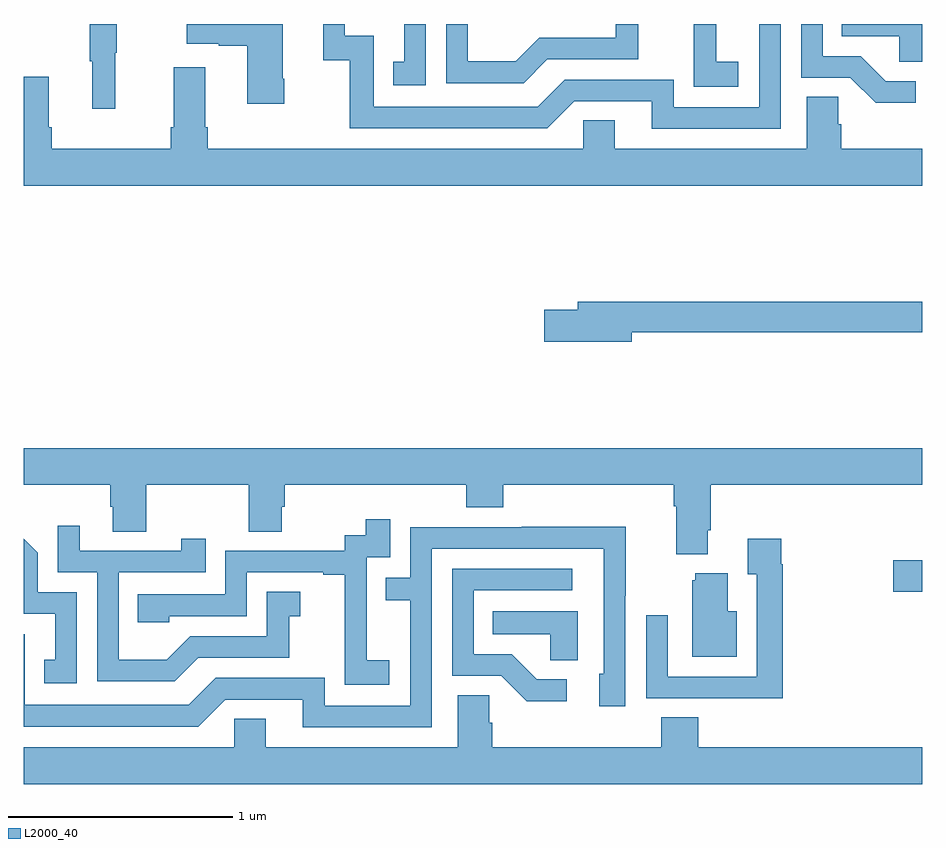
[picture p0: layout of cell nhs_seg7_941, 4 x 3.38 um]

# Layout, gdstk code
import gdstk
lib = gdstk.Library(unit=1e-6, precision=1e-09)
def R(c, l, rs):  # rectangles x0, y0, x1, y1
    for r in rs: c.add(gdstk.rectangle(r[:2], r[2:], *l))
def P(c, l, *ps):  # polygons
    for p in ps: c.add(gdstk.Polygon(p, *l))
L2000_40 = (2000, 40)

nhs_seg7_941 = lib.new_cell('nhs_seg7_941')
R(nhs_seg7_941, L2000_40, [(184.872,1001.471,185,1001.613)])
P(nhs_seg7_941, L2000_40, [(184.972,1003.746),(184.837,1003.746),(184.726,1003.857),(184.557,1003.857),(184.557,1004),(184.461,1004),(184.461,1003.761),(184.68,1003.761),(184.793,1003.649),(184.972,1003.649)],
  [(181.406,1003.872),(181.414,1003.872),(181.414,1004),(181.293,1004),(181.293,1003.835),(181.304,1003.835),(181.304,1003.623),(181.406,1003.623)],
  [(183.331,1003.842),(183.735,1003.842),(183.735,1004),(183.636,1004),(183.636,1003.938),(183.294,1003.938),(183.19,1003.834),(182.976,1003.834),(182.976,1004),(182.88,1004),(182.88,1003.737),(183.226,1003.737)],
  [(184.18,1003.831),(184.082,1003.831),(184.082,1004),(183.983,1004),(183.983,1003.927),(183.982,1003.927),(183.982,1003.721),(184.18,1003.721)],
  [(184.371,1004),(184.275,1004),(184.275,1003.629),(183.894,1003.629),(183.894,1003.752),(183.408,1003.752),(183.288,1003.632),(182.559,1003.632),(182.559,1003.947),(182.43,1003.947),(182.43,1004),(182.333,1004),(182.333,1003.839),(182.451,1003.839),(182.451,1003.536),(183.33,1003.536),(183.45,1003.656),(183.797,1003.656),(183.797,1003.533),(184.371,1003.533)],
  [(182.79,1004),(182.693,1004),(182.693,1003.833),(182.644,1003.833),(182.644,1003.728),(182.79,1003.728)],
  [(185,1004),(184.642,1004),(184.642,1003.946),(184.899,1003.946),(184.899,1003.831),(185,1003.831)],
  [(182.16,1003.756),(182.152,1003.756),(182.152,1004),(181.725,1004),(181.725,1003.913),(181.868,1003.913),(181.868,1003.903),(181.994,1003.903),(181.994,1003.644),(182.16,1003.644)],
  [(184.487,1003.676),(184.487,1003.444),(183.631,1003.444),(183.631,1003.571),(183.492,1003.571),(183.492,1003.444),(181.82,1003.444),(181.82,1003.54),(181.807,1003.54),(181.807,1003.807),(181.667,1003.807),(181.667,1003.54),(181.655,1003.54),(181.655,1003.444),(181.124,1003.444),(181.124,1003.54),(181.111,1003.54),(181.111,1003.765),(181,1003.765),(181,1003.28),(185,1003.28),(185,1003.444),(184.64,1003.444),(184.64,1003.553),(184.626,1003.553),(184.626,1003.676)],
  [(183.706,1002.628),(185,1002.628),(185,1002.764),(183.467,1002.764),(183.467,1002.728),(183.318,1002.728),(183.318,1002.586),(183.706,1002.586)],
  [(181,1001.948),(181.385,1001.948),(181.385,1001.85),(181.397,1001.85),(181.397,1001.74),(181.545,1001.74),(181.545,1001.948),(182.002,1001.948),(182.002,1001.74),(182.149,1001.74),(182.149,1001.85),(182.162,1001.85),(182.162,1001.948),(182.969,1001.948),(182.969,1001.849),(183.134,1001.849),(183.134,1001.948),(183.893,1001.948),(183.893,1001.852),(183.905,1001.852),(183.905,1001.639),(184.045,1001.639),(184.045,1001.746),(184.058,1001.746),(184.058,1001.948),(185,1001.948),(185,1002.112),(181,1002.112)],
  [(182.626,1001.167),(182.528,1001.167),(182.528,1001.396),(182.526,1001.396),(182.526,1001.625),(182.631,1001.625),(182.631,1001.794),(182.523,1001.794),(182.523,1001.724),(182.43,1001.724),(182.43,1001.655),(181.896,1001.655),(181.896,1001.46),(181.507,1001.46),(181.507,1001.337),(181.647,1001.337),(181.647,1001.364),(181.992,1001.364),(181.992,1001.559),(182.333,1001.559),(182.333,1001.547),(182.429,1001.547),(182.429,1001.263),(182.428,1001.263),(182.428,1001.057),(182.626,1001.057)],
  [(181.777,1001.178),(182.181,1001.178),(182.181,1001.363),(182.23,1001.363),(182.23,1001.473),(182.082,1001.473),(182.082,1001.274),(181.74,1001.274),(181.636,1001.17),(181.422,1001.17),(181.422,1001.559),(181.811,1001.559),(181.811,1001.707),(181.7,1001.707),(181.7,1001.655),(181.249,1001.655),(181.249,1001.767),(181.152,1001.767),(181.152,1001.559),(181.326,1001.559),(181.326,1001.073),(181.672,1001.073)],
  [(182.817,1001.664),(183.582,1001.664),(183.582,1001.106),(183.563,1001.106),(183.563,1000.962),(183.678,1000.962),(183.678,1001.455),(183.681,1001.455),(183.681,1001.762),(183.217,1001.762),(183.217,1001.76),(182.721,1001.76),(182.721,1001.535),(182.611,1001.535),(182.611,1001.434),(182.721,1001.434),(182.721,1000.965),(182.34,1000.965),(182.34,1001.088),(181.854,1001.088),(181.734,1000.968),(181.005,1000.968),(181.005,1001.283),(181,1001.283),(181,1000.872),(181.776,1000.872),(181.896,1000.992),(182.243,1000.992),(182.243,1000.869),(182.817,1000.869)],
  [(181.236,1001.469),(181.062,1001.469),(181.062,1001.646),(181,1001.708),(181,1001.373),(181.139,1001.373),(181.139,1001.169),(181.09,1001.169),(181.09,1001.064),(181.236,1001.064)],
  [(184.379,1001.594),(184.372,1001.594),(184.372,1001.707),(184.223,1001.707),(184.223,1001.551),(184.263,1001.551),(184.263,1001.094),(183.867,1001.094),(183.867,1001.368),(183.771,1001.368),(183.771,1000.998),(184.087,1000.998),(184.087,1000.997),(184.379,1000.997)],
  [(183.418,1001.082),(183.283,1001.082),(183.172,1001.193),(183.003,1001.193),(183.003,1001.478),(183.442,1001.478),(183.442,1001.574),(182.907,1001.574),(182.907,1001.097),(183.126,1001.097),(183.239,1000.985),(183.418,1000.985)],
  [(184.174,1001.386),(184.135,1001.386),(184.135,1001.554),(183.989,1001.554),(183.989,1001.523),(183.977,1001.523),(183.977,1001.183),(184.174,1001.183)],
  [(183.466,1001.386),(183.088,1001.386),(183.088,1001.282),(183.345,1001.282),(183.345,1001.167),(183.466,1001.167)],
  [(185,1000.78),(184.004,1000.78),(184.004,1000.913),(183.839,1000.913),(183.839,1000.78),(183.086,1000.78),(183.086,1000.889),(183.072,1000.889),(183.072,1001.012),(182.933,1001.012),(182.933,1000.78),(182.077,1000.78),(182.077,1000.907),(181.938,1000.907),(181.938,1000.78),(181,1000.78),(181,1000.616),(185,1000.616)])

lib.write_gds('nhs_seg7_941.gds')
